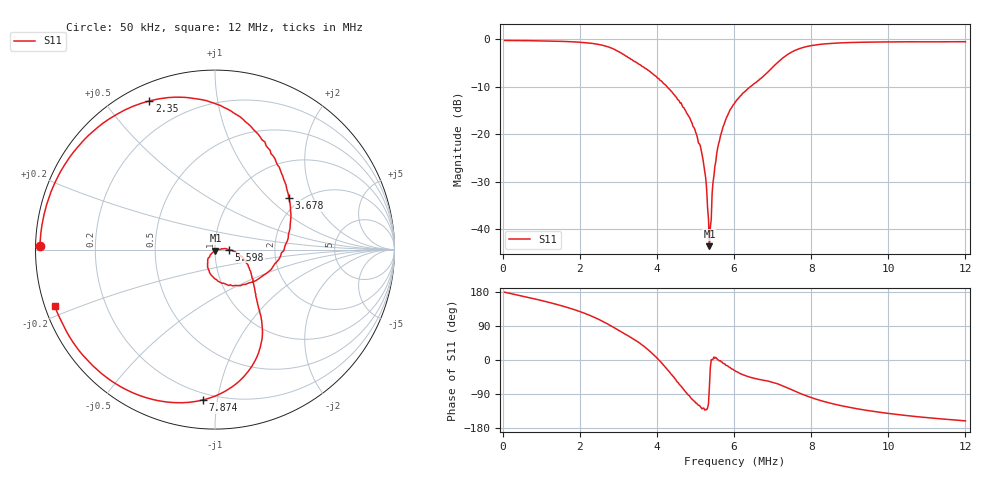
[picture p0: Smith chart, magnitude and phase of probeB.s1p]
# Hz S RI R 50
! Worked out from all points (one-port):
!   505 points, 50 kHz to 12 MHz, reference 50 ohm
!   lowest |S11| = -43.6 dB at 5.361 MHz (marker M1), VSWR 1.01, Z = 50.2 - j0.629 ohm
!   |S11| at or under -10 dB: 4.265 MHz to 6.419 MHz (2.154 MHz wide, 40.3 % of centre)
!   S11 on the Smith chart (normalised r, x): 50 kHz: 0.01, +0.01; 2.35 MHz: 0.07, +0.65; 3.678 MHz: 1.74, +1.34; 5.598 MHz: 1.17, -0.00; 7.874 MHz: 0.16, -0.91; 12 MHz: 0.03, -0.17
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50000  -0.9758 0.0183
856100  -0.9138 0.3214
1567400  -0.751 0.5864
1970500  -0.5886 0.7287
2349800  -0.3656 0.8284
2729210  -0.0689 0.834
3061110  0.1866 0.6988
3677610  0.4107 0.2878
4080610  0.3702 -0.0172
4317710  0.2605 -0.1502
4554810  0.1142 -0.1996
4863120  -0.0198 -0.144
5147620  -0.0402 -0.0551
5242420  -0.0267 -0.0293
5313620  -0.00999 -0.0135
5361020  0.00214 -0.00627
5408420  0.0126 0.000111
5479520  0.0364 0.00502
5598120  0.0791 -0.000497
5764020  0.1332 -0.0249
6024920  0.1907 -0.1017
7068120  0.2641 -0.4736
7542330  0.1223 -0.744
7874230  -0.0661 -0.8373
8443330  -0.347 -0.8349
9036030  -0.5437 -0.7533
1.052974e7  -0.7945 -0.511
1.199984e7  -0.8931 -0.3144
